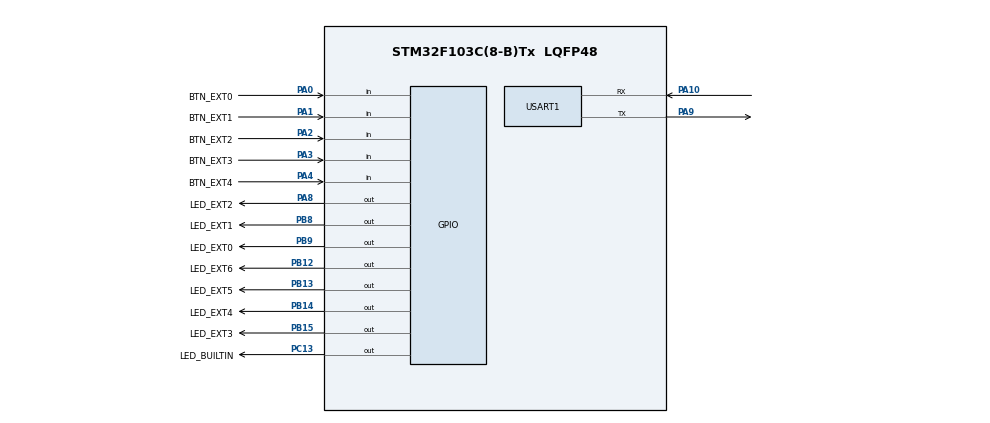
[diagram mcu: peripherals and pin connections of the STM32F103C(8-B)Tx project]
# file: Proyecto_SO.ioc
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FREERTOS.BinarySemaphores01=myBinarySem01,Dynamic,NULL
FREERTOS.CountingSemaphores01=Sem_disponibles,2,Dynamic,NULL;Sem_ocupados,1,Dynamic,NULL
FREERTOS.Tasks01=produceTask,0,128,produce,Default,NULL,Dynamic,NULL,NULL;consumeTask,0,128,consume,Default,NULL,Dynamic,NULL,NULL
FREERTOS.configUSE_COUNTING_SEMAPHORES=1
Mcu.Family=STM32F1
Mcu.Name=STM32F103C(8-B)Tx
Mcu.Package=LQFP48
NVIC.PriorityGroup=NVIC_PRIORITYGROUP_4
NVIC.TIM1_UP_IRQn=true\:0\:0\:false\:false\:true\:false\:false\:true
NVIC.TimeBase=TIM1_UP_IRQn
NVIC.TimeBaseIP=TIM1
PA0-WKUP.GPIO_Label=BTN_EXT0
PA0-WKUP.GPIO_PuPd=GPIO_PULLUP
PA0-WKUP.Signal=GPIO_Input
PA1.GPIO_Label=BTN_EXT1
PA1.GPIO_Mode=GPIO_MODE_INPUT
PA1.GPIO_PuPd=GPIO_PULLUP
PA1.Signal=GPIO_Input
PA10.Mode=Asynchronous
PA10.Signal=USART1_RX
PA13.Mode=Serial_Wire
PA13.Signal=SYS_JTMS-SWDIO
PA14.Mode=Serial_Wire
PA14.Signal=SYS_JTCK-SWCLK
PA2.GPIO_Label=BTN_EXT2
PA2.GPIO_Mode=GPIO_MODE_INPUT
PA2.GPIO_PuPd=GPIO_PULLUP
PA2.Signal=GPIO_Input
PA3.GPIO_Label=BTN_EXT3
PA3.GPIO_Mode=GPIO_MODE_INPUT
PA3.GPIO_PuPd=GPIO_PULLUP
PA3.Signal=GPIO_Input
PA4.GPIO_Label=BTN_EXT4
PA4.GPIO_Mode=GPIO_MODE_INPUT
PA4.GPIO_PuPd=GPIO_PULLUP
PA4.Signal=GPIO_Input
PA8.GPIO_Label=LED_EXT2
PA8.Signal=GPIO_Output
PA9.Mode=Asynchronous
PA9.Signal=USART1_TX
PB12.GPIO_Label=LED_EXT6
PB12.Signal=GPIO_Output
PB13.GPIO_Label=LED_EXT5
PB13.Signal=GPIO_Output
PB14.GPIO_Label=LED_EXT4
PB14.Signal=GPIO_Output
PB15.GPIO_Label=LED_EXT3
PB15.Signal=GPIO_Output
PB8.GPIO_Label=LED_EXT1
PB8.Signal=GPIO_Output
PB9.GPIO_Label=LED_EXT0
PB9.Signal=GPIO_Output
PC13-TAMPER-RTC.GPIO_Label=LED_BUILTIN
PC13-TAMPER-RTC.Signal=GPIO_Output
ProjectManager.HeapSize=0x200
ProjectManager.StackSize=0x400
ProjectManager.TargetToolchain=STM32CubeIDE
RCC.APB1Freq_Value=8000000
RCC.APB2Freq_Value=8000000
USART1.VirtualMode=VM_ASYNC
VP_FREERTOS_VS_CMSIS_V1.Mode=CMSIS_V1
VP_SYS_VS_tim1.Mode=TIM1
board=custom

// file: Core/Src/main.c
/* USER CODE BEGIN Header */
/**
  ******************************************************************************
  * @file           : main.c
  * @brief          : Main program body
  ******************************************************************************
  * @attention
  *
  * <h2><center>&copy; Copyright (c) 2021 STMicroelectronics.
  * All rights reserved.</center></h2>
  *
  * This software component is licensed by ST under Ultimate Liberty license
  * SLA0044, the "License"; You may not use this file except in compliance with
  * the License. You may obtain a copy of the License at:
  *                             www.st.com/SLA0044
  *
  ******************************************************************************
  */
/* USER CODE END Header */
#include "main.h"
#include "cmsis_os.h"

UART_HandleTypeDef huart1;

osThreadId produceTaskHandle;
osThreadId consumeTaskHandle;
osSemaphoreId myBinarySem01Handle;
osSemaphoreId Sem_disponiblesHandle;
osSemaphoreId Sem_ocupadosHandle;

void SystemClock_Config(void);
static void MX_GPIO_Init(void);
static void MX_USART1_UART_Init(void);
void produce(void const * argument);
void consume(void const * argument);

/* USER CODE BEGIN 0 */
int __io_putchar(int ch){
	HAL_UART_Transmit(&huart1, &ch, 1, 10);
	return 1;
}
/* USER CODE END 0 */

int main(void)
{

  /* MCU Configuration--------------------------------------------------------*/

  /* Reset of all peripherals, Initializes the Flash interface and the Systick. */
  HAL_Init();

  /* Configure the system clock */
  SystemClock_Config();

  /* Initialize all configured peripherals */
  MX_GPIO_Init();
  MX_USART1_UART_Init();

  /* Create the semaphores(s) */
  /* definition and creation of myBinarySem01 */
  osSemaphoreDef(myBinarySem01);
  myBinarySem01Handle = osSemaphoreCreate(osSemaphore(myBinarySem01), 1);

  /* definition and creation of Sem_disponibles */
  osSemaphoreDef(Sem_disponibles);
  Sem_disponiblesHandle = osSemaphoreCreate(osSemaphore(Sem_disponibles), 2);

  /* definition and creation of Sem_ocupados */
  osSemaphoreDef(Sem_ocupados);
  Sem_ocupadosHandle = osSemaphoreCreate(osSemaphore(Sem_ocupados), 1);

  /* Create the thread(s) */
  /* definition and creation of produceTask */
  osThreadDef(produceTask, produce, osPriorityNormal, 0, 128);
  produceTaskHandle = osThreadCreate(osThread(produceTask), NULL);

  /* definition and creation of consumeTask */
  osThreadDef(consumeTask, consume, osPriorityNormal, 0, 128);
  consumeTaskHandle = osThreadCreate(osThread(consumeTask), NULL);

  /* Start scheduler */
  osKernelStart();

  /* We should never get here as control is now taken by the scheduler */
  /* Infinite loop */
  while (1)
  {

  }
}

void SystemClock_Config(void)
{
  RCC_OscInitTypeDef RCC_OscInitStruct = {0};
  RCC_ClkInitTypeDef RCC_ClkInitStruct = {0};

  /** Initializes the RCC Oscillators according to the specified parameters
  * in the RCC_OscInitTypeDef structure.
  */
  RCC_OscInitStruct.OscillatorType = RCC_OSCILLATORTYPE_HSI;
  RCC_OscInitStruct.HSIState = RCC_HSI_ON;
  RCC_OscInitStruct.HSICalibrationValue = RCC_HSICALIBRATION_DEFAULT;
  RCC_OscInitStruct.PLL.PLLState = RCC_PLL_NONE;
  if (HAL_RCC_OscConfig(&RCC_OscInitStruct) != HAL_OK)
  {
    Error_Handler();
  }
  /** Initializes the CPU, AHB and APB buses clocks
  */
  RCC_ClkInitStruct.ClockType = RCC_CLOCKTYPE_HCLK|RCC_CLOCKTYPE_SYSCLK
                              |RCC_CLOCKTYPE_PCLK1|RCC_CLOCKTYPE_PCLK2;
  RCC_ClkInitStruct.SYSCLKSource = RCC_SYSCLKSOURCE_HSI;
  RCC_ClkInitStruct.AHBCLKDivider = RCC_SYSCLK_DIV1;
  RCC_ClkInitStruct.APB1CLKDivider = RCC_HCLK_DIV1;
  RCC_ClkInitStruct.APB2CLKDivider = RCC_HCLK_DIV1;

  if (HAL_RCC_ClockConfig(&RCC_ClkInitStruct, FLASH_LATENCY_0) != HAL_OK)
  {
    Error_Handler();
  }
}

static void MX_USART1_UART_Init(void)
{

  huart1.Instance = USART1;
  huart1.Init.BaudRate = 115200;
  huart1.Init.WordLength = UART_WORDLENGTH_8B;
  huart1.Init.StopBits = UART_STOPBITS_1;
  huart1.Init.Parity = UART_PARITY_NONE;
  huart1.Init.Mode = UART_MODE_TX_RX;
  huart1.Init.HwFlowCtl = UART_HWCONTROL_NONE;
  huart1.Init.OverSampling = UART_OVERSAMPLING_16;
  if (HAL_UART_Init(&huart1) != HAL_OK)
  {
    Error_Handler();
  }

}

static void MX_GPIO_Init(void)
{
  GPIO_InitTypeDef GPIO_InitStruct = {0};

  /* GPIO Ports Clock Enable */
  __HAL_RCC_GPIOC_CLK_ENABLE();
  __HAL_RCC_GPIOA_CLK_ENABLE();
  __HAL_RCC_GPIOB_CLK_ENABLE();

  /*Configure GPIO pin Output Level */
  HAL_GPIO_WritePin(LED_BUILTIN_GPIO_Port, LED_BUILTIN_Pin, GPIO_PIN_RESET);

  /*Configure GPIO pin Output Level */
  HAL_GPIO_WritePin(GPIOB, LED_EXT6_Pin|LED_EXT5_Pin|LED_EXT4_Pin|LED_EXT3_Pin
                          |LED_EXT1_Pin|LED_EXT0_Pin, GPIO_PIN_RESET);

  /*Configure GPIO pin Output Level */
  HAL_GPIO_WritePin(LED_EXT2_GPIO_Port, LED_EXT2_Pin, GPIO_PIN_RESET);

  /*Configure GPIO pin : LED_BUILTIN_Pin */
  GPIO_InitStruct.Pin = LED_BUILTIN_Pin;
  GPIO_InitStruct.Mode = GPIO_MODE_OUTPUT_PP;
  GPIO_InitStruct.Pull = GPIO_NOPULL;
  GPIO_InitStruct.Speed = GPIO_SPEED_FREQ_LOW;
  HAL_GPIO_Init(LED_BUILTIN_GPIO_Port, &GPIO_InitStruct);

  /*Configure GPIO pins : BTN_EXT0_Pin BTN_EXT1_Pin BTN_EXT2_Pin BTN_EXT3_Pin
                           BTN_EXT4_Pin */
  GPIO_InitStruct.Pin = BTN_EXT0_Pin|BTN_EXT1_Pin|BTN_EXT2_Pin|BTN_EXT3_Pin
                          |BTN_EXT4_Pin;
  GPIO_InitStruct.Mode = GPIO_MODE_INPUT;
  GPIO_InitStruct.Pull = GPIO_PULLUP;
  HAL_GPIO_Init(GPIOA, &GPIO_InitStruct);

  /*Configure GPIO pins : LED_EXT6_Pin LED_EXT5_Pin LED_EXT4_Pin LED_EXT3_Pin
                           LED_EXT1_Pin LED_EXT0_Pin */
  GPIO_InitStruct.Pin = LED_EXT6_Pin|LED_EXT5_Pin|LED_EXT4_Pin|LED_EXT3_Pin
                          |LED_EXT1_Pin|LED_EXT0_Pin;
  GPIO_InitStruct.Mode = GPIO_MODE_OUTPUT_PP;
  GPIO_InitStruct.Pull = GPIO_NOPULL;
  GPIO_InitStruct.Speed = GPIO_SPEED_FREQ_LOW;
  HAL_GPIO_Init(GPIOB, &GPIO_InitStruct);

  /*Configure GPIO pin : LED_EXT2_Pin */
  GPIO_InitStruct.Pin = LED_EXT2_Pin;
  GPIO_InitStruct.Mode = GPIO_MODE_OUTPUT_PP;
  GPIO_InitStruct.Pull = GPIO_NOPULL;
  GPIO_InitStruct.Speed = GPIO_SPEED_FREQ_LOW;
  HAL_GPIO_Init(LED_EXT2_GPIO_Port, &GPIO_InitStruct);

}

void produce(void const * argument)
{
  /* USER CODE BEGIN 5 */
	char msg[32];
	uint8_t msg_size, cnt=0;
  /* Infinite loop */
  for(;;)
  {
	  msg_size = sprintf(msg, "Hello from produce, Count: %d\r\n", cnt);
	  HAL_GPIO_TogglePin(LED_BUILTIN_GPIO_Port, LED_BUILTIN_Pin);
	  osSemaphoreWait(myBinarySem01Handle, osWaitForever);
	  HAL_UART_Transmit(&huart1, &msg, msg_size, 1000);
	  osSemaphoreRelease(myBinarySem01Handle);
	  cnt++;
	  osDelay(500);
  }
  /* USER CODE END 5 */
}

void consume(void const * argument)
{
  /* USER CODE BEGIN consume */
	char msg[32];
	uint8_t msg_size, cnt=0;
  /* Infinite loop */
	  for(;;)
	  {
		  msg_size = sprintf(msg, "Hello from consume, Count: %d\r\n", cnt);
		  osSemaphoreWait(myBinarySem01Handle, osWaitForever);
		  HAL_UART_Transmit(&huart1, &msg, msg_size, 1000);
		  osSemaphoreRelease(myBinarySem01Handle);
		  cnt++;
		  if(!HAL_GPIO_ReadPin(BTN_EXT0_GPIO_Port, BTN_EXT0_Pin)){
			  HAL_GPIO_TogglePin(LED_EXT0_GPIO_Port, LED_EXT0_Pin);
		  }
		  if(!HAL_GPIO_ReadPin(BTN_EXT1_GPIO_Port, BTN_EXT1_Pin)){
			  HAL_GPIO_TogglePin(LED_EXT1_GPIO_Port, LED_EXT1_Pin);
		  }
		  if(!HAL_GPIO_ReadPin(BTN_EXT2_GPIO_Port, BTN_EXT2_Pin)){
			  HAL_GPIO_TogglePin(LED_EXT2_GPIO_Port, LED_EXT2_Pin);
		  }
		  if(!HAL_GPIO_ReadPin(BTN_EXT3_GPIO_Port, BTN_EXT3_Pin)){
			  HAL_GPIO_TogglePin(LED_EXT3_GPIO_Port, LED_EXT3_Pin);
			  HAL_GPIO_TogglePin(LED_EXT5_GPIO_Port, LED_EXT5_Pin);
		  }
		  if(!HAL_GPIO_ReadPin(BTN_EXT4_GPIO_Port, BTN_EXT4_Pin)){
			  HAL_GPIO_TogglePin(LED_EXT4_GPIO_Port, LED_EXT4_Pin);
			  HAL_GPIO_TogglePin(LED_EXT6_GPIO_Port, LED_EXT6_Pin);
		  }
		  osDelay(250);
	  }
  /* USER CODE END consume */
}

void HAL_TIM_PeriodElapsedCallback(TIM_HandleTypeDef *htim)
{
  if (htim->Instance == TIM1) {
    HAL_IncTick();
  }
}

void Error_Handler(void)
{
}

/************************ (C) COPYRIGHT STMicroelectronics *****END OF FILE****/
